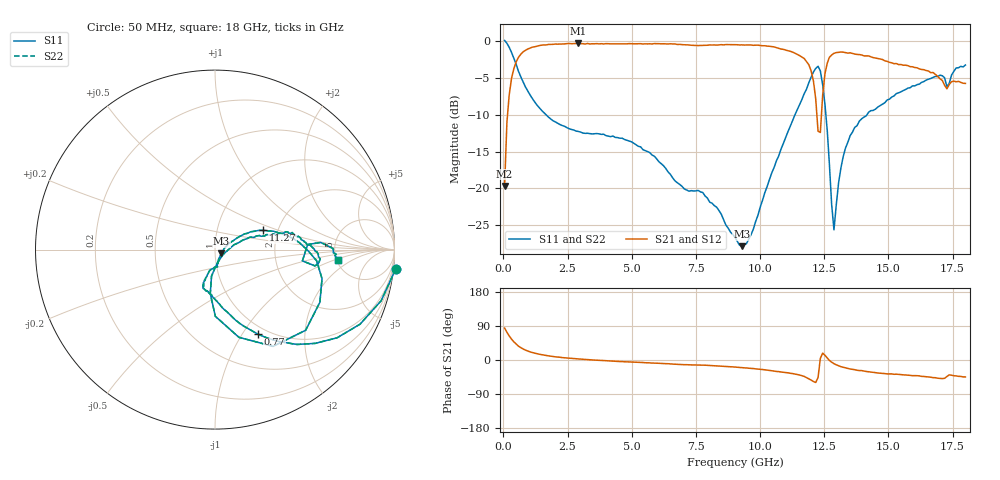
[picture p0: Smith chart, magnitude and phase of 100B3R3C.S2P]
!  American Technical Ceramics  Date:  3/13/98
!  One Norden Lane
!  Huntington Station,  NY.  11746-2102
!  Tel:  (516) 547-5700  Fax:  (516) 547-5748
!  Part Number  100b3r3c
!  Description: Porcelain, High Q, Low ESR
!  Application: Bypass, Coupling, Timing, Feedback
!  Tuning, Impedance Match, Blocking
# GHZ S DB R 50
! Freq  |S11|  S11 Ph  |S21|  S21 Ph  |S12|  S12 Ph  |S22|  S22 Ph
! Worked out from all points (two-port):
!   201 points, 50 MHz to 18 GHz, reference 50 ohm
!   highest |S21| = -0.29 dB at 2.92 GHz (marker M1); lowest = -19.7 dB at 50 MHz (marker M2)
!   |S21| within 3 dB of the highest: 452.5 MHz to 11.91 GHz (11.46 GHz wide, 185 % of centre); 12.6 GHz to 15.72 GHz (3.122 GHz wide, 22 % of centre)
!   lowest |S11| = -27.9 dB at 9.29 GHz (marker M3), VSWR 1.08, Z = 53.5 - j2.27 ohm
!   |S11| at or under -10 dB: 1.664 GHz to 11.36 GHz (9.696 GHz wide, 149 % of centre); 12.56 GHz to 14.16 GHz (1.599 GHz wide, 12 % of centre)
!   |S22| runs from -27.9 to 0.1 dB; largest |S21 - S12| = 0
!   S11 on the Smith chart (normalised r, x): 50 MHz: -2, -18; 770 MHz: 0.90, -1.18; 11.27 GHz: 1.68, +0.39; 18 GHz: 5.20, -1.10
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0.05  0.11 -6.2  -19.66 84.2  -19.66 84.2  0.11 -6.2
0.14  -0.28 -17.1  -11.01 73.1  -11.01 73.1  -0.28 -17.1
0.23  -0.83 -27.2  -7.27 63.5  -7.27 63.5  -0.83 -27.2
0.77  -5.53 -63.0  -1.44 29.1  -1.44 29.1  -5.53 -63.0
2.92  -12.26 -98.1  -0.29 2.9  -0.29 2.9  -12.26 -98.1
3.1  -12.48 -99.5  -0.33 1.9  -0.33 1.9  -12.48 -99.5
6.06  -16.37 -106.7  -0.33 -8.8  -0.33 -8.8  -16.37 -106.7
9.03  -26.68 -51.4  -0.47 -18.6  -0.47 -18.6  -26.68 -51.4
9.29  -27.86 -31.5  -0.49 -20.2  -0.49 -20.2  -27.86 -31.5
11.27  -10.75 21.7  -1.48 -35.8  -1.48 -35.8  -10.75 21.7
11.81  -6.52 4.7  -2.75 -46.4  -2.75 -46.4  -6.52 4.7
12.08  -4.18 -15.2  -5.39 -56.8  -5.39 -56.8  -4.18 -15.2
12.26  -3.40 -41.6  -12.23 -46.4  -12.23 -46.4  -3.40 -41.6
12.35  -4.03 -59.0  -12.40 4.3  -12.40 4.3  -4.03 -59.0
12.44  -5.91 -74.8  -7.34 18.2  -7.34 18.2  -5.91 -74.8
12.62  -12.20 -96.2  -2.97 5.2  -2.97 5.2  -12.20 -96.2
12.88  -25.64 -33.2  -1.64 -9.6  -1.64 -9.6  -25.64 -33.2
13.15  -17.24 16.3  -1.46 -17.6  -1.46 -17.6  -17.24 16.3
13.51  -12.84 17.4  -1.57 -23.8  -1.57 -23.8  -12.84 17.4
15.04  -7.87 14.2  -2.86 -36.7  -2.86 -36.7  -7.87 14.2
17.28  -6.18 -7.4  -6.47 -43.5  -6.47 -43.5  -6.18 -7.4
18  -3.23 -4.6  -5.73 -44.6  -5.73 -44.6  -3.23 -4.6
